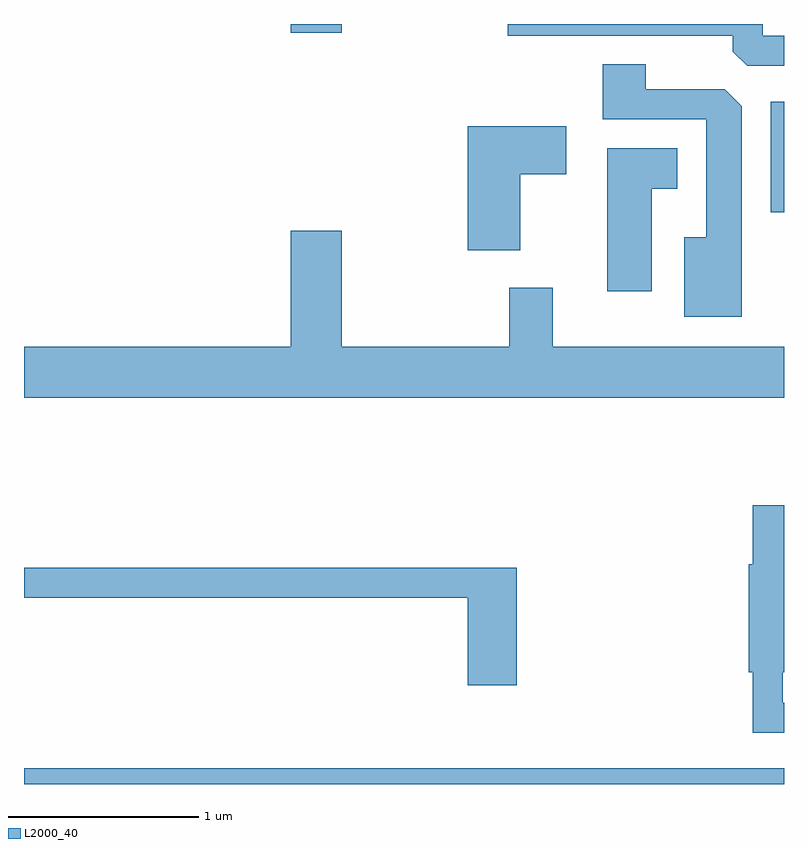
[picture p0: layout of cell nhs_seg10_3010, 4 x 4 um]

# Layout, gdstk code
import gdstk
lib = gdstk.Library(unit=1e-6, precision=1e-09)
def R(c, l, rs):  # rectangles x0, y0, x1, y1
    for r in rs: c.add(gdstk.rectangle(r[:2], r[2:], *l))
def P(c, l, *ps):  # polygons
    for p in ps: c.add(gdstk.Polygon(p, *l))
L2000_40 = (2000, 40)

nhs_seg10_3010 = lib.new_cell('nhs_seg10_3010')
R(nhs_seg10_3010, L2000_40, [(273.611,2138.522,277.611,2138.604), (277.541,2141.531,277.611,2142.114), (275.016,2142.476,275.284,2142.522)])
P(nhs_seg10_3010, L2000_40, [(277.611,2142.459),(277.499,2142.459),(277.499,2142.522),(276.158,2142.522),(276.158,2142.461),(277.341,2142.461),(277.341,2142.377),(277.417,2142.301),(277.611,2142.301)],
  [(277.389,2142.089),(277.299,2142.179),(276.884,2142.179),(276.884,2142.309),(276.656,2142.309),(276.656,2142.021),(277.201,2142.021),(277.201,2141.399),(277.086,2141.399),(277.086,2140.981),(277.389,2140.981)],
  [(276.224,2141.731),(276.464,2141.731),(276.464,2141.984),(275.946,2141.984),(275.946,2141.331),(276.224,2141.331)],
  [(276.914,2141.656),(277.049,2141.656),(277.049,2141.869),(276.681,2141.869),(276.681,2141.116),(276.914,2141.116)],
  [(277.611,2140.824),(276.394,2140.824),(276.394,2141.134),(276.166,2141.134),(276.166,2140.824),(275.284,2140.824),(275.284,2141.434),(275.016,2141.434),(275.016,2140.824),(273.611,2140.824),(273.611,2140.556),(277.611,2140.556)],
  [(277.611,2138.949),(277.604,2138.949),(277.604,2139.111),(277.611,2139.111),(277.611,2139.989),(277.446,2139.989),(277.446,2139.679),(277.426,2139.679),(277.426,2139.111),(277.446,2139.111),(277.446,2138.791),(277.611,2138.791)],
  [(276.204,2139.659),(273.611,2139.659),(273.611,2139.501),(275.946,2139.501),(275.946,2139.041),(276.204,2139.041)])

lib.write_gds('nhs_seg10_3010.gds')
